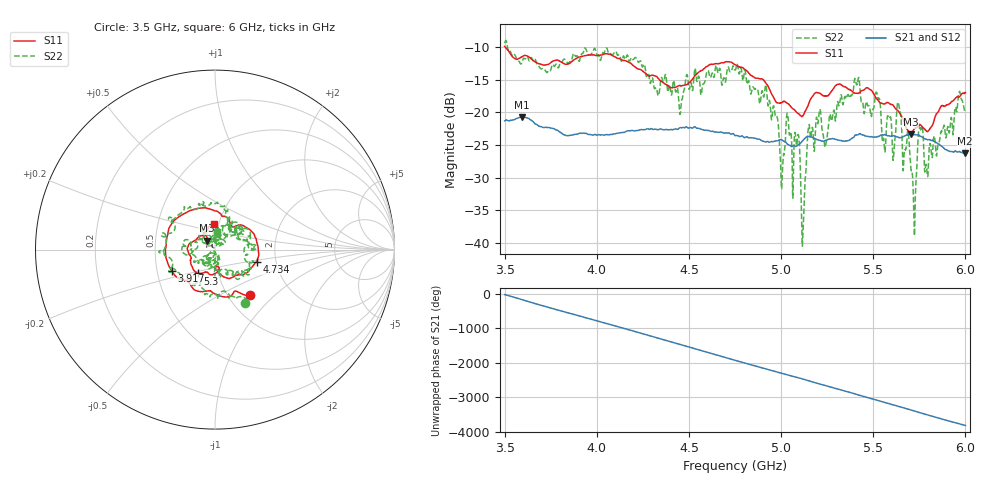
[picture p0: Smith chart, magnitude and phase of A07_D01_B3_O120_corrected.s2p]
! Created with skrf 1.9.0 (http://scikit-rf.org).
# Hz S RI R 50.0
!freq ReS11 ImS11 ReS21 ImS21 ReS12 ImS12 ReS22 ImS22
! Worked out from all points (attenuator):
!   1601 points, 3.5 GHz to 6 GHz, reference 50 ohm
!   highest |S21| = -20.70 dB at 3.592 GHz (marker M1); lowest = -26.3 dB at 5.998 GHz (marker M2)
!   lowest |S11| = -23.3 dB at 5.703 GHz (marker M3), VSWR 1.15, Z = 45.4 + j4.63 ohm
!   |S11| at or under -10 dB: 3.505 GHz to end of sweep
!   |S22| runs from -40.5 to -8.9 dB; largest |S21 - S12| = 0.0013
!   S11 on the Smith chart (normalised r, x): 3.5 GHz: 1.26, -0.72; 3.917 GHz: 0.60, -0.15; 4.734 GHz: 1.58, -0.22; 5.3 GHz: 0.80, -0.22; 6 GHz: 0.95, +0.28
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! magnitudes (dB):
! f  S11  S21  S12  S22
! 3.5 GHz  -9.9  -21.3  -21.3  -9.4
! 3.592 GHz  -11.5  -20.7  -20.7  -12.5
! 3.917 GHz  -11.4  -23.2  -23.2  -11.0
! 4.334 GHz  -14.8  -22.7  -22.6  -17.4
! 4.734 GHz  -12.4  -23.3  -23.3  -13.4
! 4.75 GHz  -12.7  -23.6  -23.5  -13.5
! 4.925 GHz  -15.8  -24.5  -24.5  -17.8
! 5.005 GHz  -18.4  -24.2  -24.2  -30.6
! 5.036 GHz  -18.6  -24.9  -24.9  -20.2
! 5.086 GHz  -20.0  -25.1  -25.1  -24.9
! 5.119 GHz  -20.5  -24.3  -24.2  -38.9
! 5.167 GHz  -17.6  -23.8  -23.8  -22.5
! 5.3 GHz  -15.8  -24.1  -24.2  -20.0
! 5.411 GHz  -17.0  -23.4  -23.5  -15.6
! 5.584 GHz  -18.6  -23.6  -23.6  -20.8
! 5.639 GHz  -19.9  -23.8  -23.8  -18.9
! 5.703 GHz  -23.3  -23.5  -23.5  -28.3
! 5.723 GHz  -22.5  -23.4  -23.4  -38.9
! 5.756 GHz  -21.9  -23.7  -23.6  -22.5
! 5.789 GHz  -22.9  -24.1  -24.1  -28.3
! 5.998 GHz  -17.0  -26.3  -26.3  -19.9
! 6 GHz  -16.9  -26.3  -26.3  -19.9
